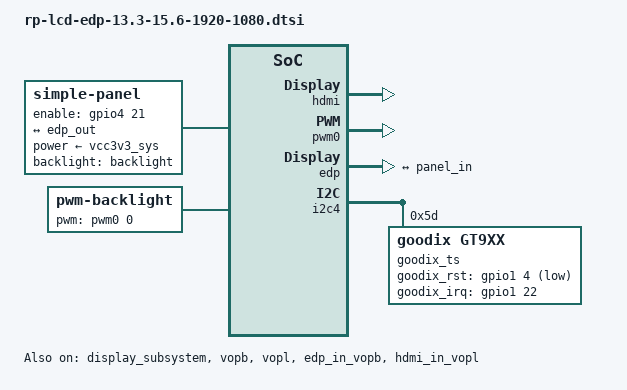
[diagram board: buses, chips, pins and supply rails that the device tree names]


/ {
    panel: panel {
        compatible = "simple-panel";
        backlight = <&backlight>;
        power-supply = <&vcc3v3_sys>;
        enable-gpios = <&gpio4 21 GPIO_ACTIVE_HIGH>;
        prepare-delay-ms = <20>;
        enable-delay-ms = <20>;
        //reset  = <&gpio1 0 GPIO_ACTIVE_HIGH>;
        reset-delay-ms = <200>;

        display-timings {
            native-mode = <&timing0>;

            timing0: timing0 {//EDP compatible with 13.3 and 15.6
                clock-frequency = <150000000>;
                hactive = <1920>;
                vactive = <1080>;
                hfront-porch = <160>;
                hsync-len = <32>;
                hback-porch = <160>;
                vfront-porch = <3>;
                vsync-len = <5>;
                vback-porch = <23>;
                hsync-active = <0>;
                vsync-active = <0>;
                de-active = <0>;
                pixelclk-active = <0>;
            };
            timing1: timing1 {
                clock-frequency = <138000000>;
                hactive = <1920>;
                vactive = <1080>;
                hfront-porch = <48>;
                hsync-len = <32>;
                hback-porch = <80>;
                vfront-porch = <3>;
                vsync-len = <5>;
                vback-porch = <23>;
                hsync-active = <0>;
                vsync-active = <0>;
                de-active = <0>;
                pixelclk-active = <0>;
            };
        };

        ports {
            panel_in: endpoint {
                remote-endpoint = <&edp_out>;
            };
        };
    };
    
    backlight: backlight {
        status = "okay";
        compatible = "pwm-backlight";
        pwms = <&pwm0 0 25000 1>;
        brightness-levels = <
//              0   1   2   3   4   5   6   7
//              8   9  10  11  12  13  14  15
//             16  17  18  19  20  21  22  23
//             24  25  26  27  28  29  30  31
             32  33  34  35  36  37  38  39
             40  41  42  43  44  45  46  47
             48  49  50  51  52  53  54  55
             56  57  58  59  60  61  62  63
             64  65  66  67  68  69  70  71
             72  73  74  75  76  77  78  79
             80  81  82  83  84  85  86  87
             88  89  90  91  92  93  94  95
             96  97  98  99 100 101 102 103
            104 105 106 107 108 109 110 111
            112 113 114 115 116 117 118 119
            120 121 122 123 124 125 126 127
            128 129 130 131 132 133 134 135
            136 137 138 139 140 141 142 143
            144 145 146 147 148 149 150 151
            152 153 154 155 156 157 158 159
            160 161 162 163 164 165 166 167
            168 169 170 171 172 173 174 175
            176 177 178 179 180 181 182 183
            184 185 186 187 188 189 190 191
            192 193 194 195 196 197 198 199
            200 201 202 203 204 205 206 207
            208 209 210 211 212 213 214 215
            216 217 218 219 220 221 222 223
            224 225 226 227 228 229 230 231
            232 233 234 235 236 237 238 239
            240 241 242 243 244 245 246 247
            248 249 250 251 252 253 254 255>;
        default-brightness-level = <255>;
//        enable-gpios = <&gpio2 28 GPIO_ACTIVE_HIGH>;
    };

    //bill  
        rpdzkj_config {
                compatible = "rp_config";
                user_version = "rpdzkj";
                system_rotate = "0";
                back_camera_rotate = "0";
                front_camera_rotate = "0";
                lcd_density = "240";
                language = "zh-CN";   //zh-CN //en-US
                time_zone = "Asia/Shanghai"; //Asia/Shanghai = +8   //Europe/London  = +0
                not_navigation_bar = "false";
                not_status_bar = "false";
                default_launcher = "true";
                has_root = "true";  //true//false
                usb_not_permission = "true";  
                usb_camera_only_front = "false";
                gps_use = "false";
                gps_serial_port = "/dev/ttyS4"; //UART4
                status = "okay";
        };

};

&hdmi {
    #address-cells = <1>;
    #size-cells = <0>;
    #sound-dai-cells = <0>;
    ddc-i2c-scl-high-time-ns = <9625>;
    ddc-i2c-scl-low-time-ns = <10000>;
    status = "okay";
};

&display_subsystem {
    status = "okay";

    ports = <&vopb_out>, <&vopl_out>;
    logo-memory-region = <&drm_logo>;
//    secure-memory-region = <&secure_memory>;
    route {
        route_hdmi: route-hdmi {
            status = "okay";
            logo,uboot = "logo.bmp";
            logo,kernel = "logo_kernel.bmp";
            logo,mode = "center";
            charge_logo,mode = "center";
            connect = <&vopl_out_hdmi>;
        };

        route_dsi: route-dsi {

            //status = "okay";
            status = "disabled";
            logo,uboot = "logo.bmp";
            logo,kernel = "logo_kernel.bmp";
            logo,mode = "center";
            charge_logo,mode = "center";
            connect = <&vopb_out_dsi>;
        };

        route_dsi1: route-dsi1 {
            status = "disabled";
            logo,uboot = "logo.bmp";
            logo,kernel = "logo_kernel.bmp";
            logo,mode = "fullscreen";
            charge_logo,mode = "center";
            connect = <&vopl_out_dsi1>;
        };

        route_edp: route-edp {
            status = "okay";
            //status = "disabled";
            logo,uboot = "logo.bmp";
            logo,kernel = "logo_kernel.bmp";
            logo,mode = "center";
            charge_logo,mode = "center";
            connect = <&vopb_out_edp>;
        };
    };
};

&pwm0 {
    status = "okay";
};

&edp {
    status = "okay";
    force-hpd;

    ports {
        port@1 {
            reg = <1>;

            edp_out: endpoint {
                remote-endpoint = <&panel_in>;
            };
        };
    };
};
&vopb {
        assigned-clocks = <&cru DCLK_VOP0_DIV>;
        assigned-clock-parents = <&cru PLL_CPLL>;
        //assigned-clock-parents = <&cru PLL_VPLL>;
        status = "okay";
};

&vopb_mmu {
        status = "okay";
};

&vopl {
        assigned-clocks = <&cru DCLK_VOP1_DIV>;
        assigned-clock-parents = <&cru PLL_VPLL>;
        //assigned-clock-parents = <&cru PLL_CPLL>;
        status = "okay";
};

&vopl_mmu {
        status = "okay";
};

&edp_in_vopl { 
        status = "disabled"; 
}; 
&edp_in_vopb { 
        status = "okay"; 
}; 

 
&hdmi_in_vopb { 
        status = "disabled"; 
}; 
&hdmi_in_vopl {
    status = "okay";
};


&route_edp { 
        status = "okay"; 
        connect = <&vopb_out_edp>;
}; 
 
&route_hdmi { 
        status = "okay"; 
        connect = <&vopl_out_hdmi>;
}; 


&i2c4 {
        status = "okay";

        goodix_ts@5d {
        compatible = "goodix,gt9xx";
        reg = <0x5d>;
        gtp_resolution_x = <1920>;
        gtp_resolution_y = <1080>;
        gtp_int_tarigger = <1>;
        gtp_change_x2y = <0>;
        gtp_overturn_x = <0>;
        gtp_overturn_y = <0>;
        gtp_send_cfg = <1>;    
             //   gtp_touch_wakeup = <1>;
        goodix_rst_gpio = <&gpio1 4 GPIO_ACTIVE_LOW>;
        goodix_irq_gpio = <&gpio1 22 IRQ_TYPE_EDGE_RISING>;
        
                goodix,cfg-group0 = [
         43 80 07 38 04 0A 3D 00 01 06
         28 08 55 32 03 05 00 00 00 00
         00 00 06 18 1A 1E 14 95 35 FF
         2D 2F A6 0F 00 00 00 01 03 2C
         00 00 00 00 00 00 00 00 00 00
         00 2D 5A 94 D0 42 00 08 00 04
         79 30 00 6E 37 00 65 3F 00 5D
         49 00 57 54 00 57 00 00 00 00
         00 00 00 00 00 00 00 00 00 00
         00 00 00 00 00 00 00 00 00 00
         00 00 00 00 00 00 00 00 00 00
         00 00 1D 1C 1B 1A 19 18 17 16
         15 14 13 12 11 10 0F 0E 0D 0C
         0B 0A 09 08 07 06 05 04 03 02
         01 00 00 01 02 03 04 05 06 07
         08 09 0A 0B 0C 0D 0E 0F 10 11
         12 13 14 15 16 17 18 19 1B 1C
         1D 1E 1F 20 21 22 23 24 25 26
         27 28 29 2A 86 01
                ];
        };

};

&pinctrl{
        pwr_5v {
                        pwr_en: pwr-en {
                                rockchip,pins = //<1 13 RK_FUNC_GPIO &pcfg_pull_up>,
                                                <4 30 RK_FUNC_GPIO &pcfg_pull_up>;
                        };
        };
};
